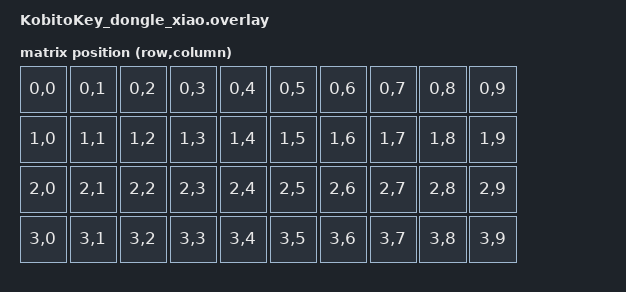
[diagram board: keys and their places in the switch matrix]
#include <dt-bindings/zmk/matrix_transform.h>
#include <dt-bindings/zmk/input_transform.h>
#include <input/processors.dtsi>
#include <input/processors/sensor_rotation.dtsi>
#include "KobitoKey-layouts.dtsi"

/ {
    chosen {
        zmk,kscan = &mock_kscan;
        zmk,physical-layout = &kobitokey_layout;
    };

    /* モックkscan: ドングルには物理キーがない */
    mock_kscan: mock_kscan_0 {
        compatible = "zmk,kscan-mock";
        columns = <0>;
        rows = <0>;
        events = <0>;
    };

    /* マトリックストランスフォーム（元のキーボード定義からコピー）*/
    default_transform: keymap_transform0 {
        compatible = "zmk,matrix-transform";
        rows = <4>;
        columns = <10>;
        map = <
            RC(0,0) RC(0,1) RC(0,2) RC(0,3) RC(0,4)   RC(0,5) RC(0,6) RC(0,7) RC(0,8) RC(0,9)
            RC(1,0) RC(1,1) RC(1,2) RC(1,3) RC(1,4)   RC(1,5) RC(1,6) RC(1,7) RC(1,8) RC(1,9)
            RC(2,0) RC(2,1) RC(2,2) RC(2,3) RC(2,4)   RC(2,5) RC(2,6) RC(2,7) RC(2,8) RC(2,9)
            RC(3,0) RC(3,1) RC(3,2) RC(3,3) RC(3,4)   RC(3,5) RC(3,6) RC(3,7) RC(3,8) RC(3,9)
        >;
    };

    /* 左右トラックボールを split 入力として扱う（右=ID:0, 左=ID:1） */
    split_inputs {
        #address-cells = <1>;
        #size-cells = <0>;

        tb_right_split: tb_right_split@0 {
            compatible = "zmk,input-split";
            reg = <0>;
        };

        tb_left_split: tb_left_split@1 {
            compatible = "zmk,input-split";
            reg = <1>;
        };
    };

    /* トラックボールリスナー（ドングルで有効化） */
    tb_left_listener: tb_left_listener {
        compatible = "zmk,input-listener";
        status = "okay";
        device = <&tb_left_split>;

        /* スクロール処理のみ */
        input-processors =
                <&sensor_rotation_left>,
                <&zip_x_scaler 0 1>,
                <&zip_y_scaler 1 15>,
                <&zip_xy_to_scroll_mapper>,
                <&zip_scroll_transform INPUT_TRANSFORM_Y_INVERT>,
                <&zip_scroll_transform INPUT_TRANSFORM_X_INVERT>;
    };

    tb_right_listener: tb_right_listener {
        compatible = "zmk,input-listener";
        status = "okay";
        device = <&tb_right_split>;

        /* ポインター操作＋自動マウスレイヤー切り替え */
        input-processors =
                <&sensor_rotation_right>,
                <&zip_temp_layer 3 5000>;
    };

    /* 左トラックボール用のセンサー回転 */
    sensor_rotation_left: sensor-rotation-left {
        compatible = "zmk,input-processor-sensor-rotation";
        status = "okay";
        #input-processor-cells = <0>;
        rotation-angle = <(-24)>;
    };

    /* 右トラックボール用のセンサー回転 */
    sensor_rotation_right: sensor-rotation-right {
        compatible = "zmk,input-processor-sensor-rotation";
        #input-processor-cells = <0>;
        status = "okay";
        rotation-angle = <24>;
    };

    /* 自動マウスレイヤー切り替え用プロセッサー */
    /omit-if-no-ref/ zip_temp_layer: zip_temp_layer {
        compatible = "zmk,input-processor-temp-layer";
        #input-processor-cells = <2>;
        require-prior-idle-ms = <350>;
    };
};

/* 除外キー位置設定（マウスボタンとモディファイアキー） */
&zip_temp_layer {
    excluded-positions = <
        6   /* Right MB1 */
        7   /* Right MB3 */
        8   /* Right MB2 */
        30  /* Left modifier */
        32  /* Left modifier */
        33  /* Left modifier */
        39  /* Right modifier */
    >;
};

/* 左トラックボールの処理設定をリスナーで行う（split inputは受信のみ） */
